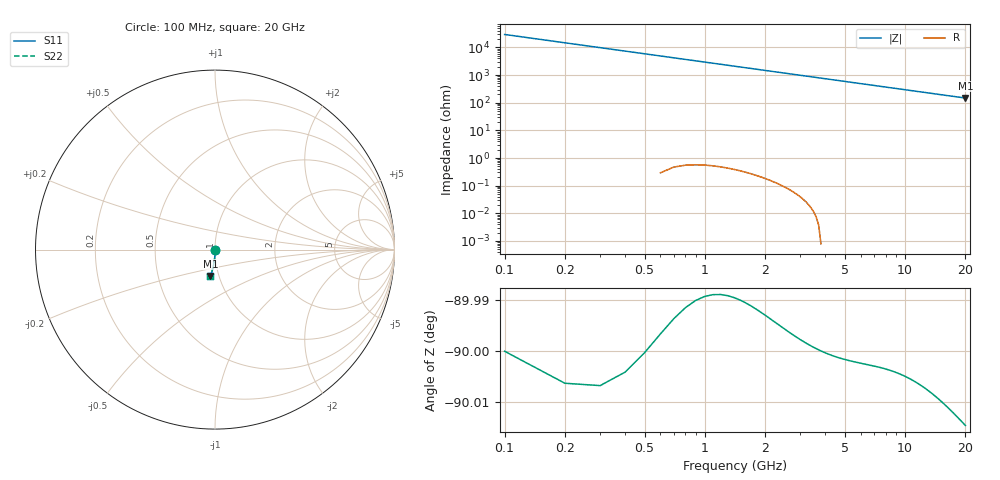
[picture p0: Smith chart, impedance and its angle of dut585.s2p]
! Touchstone file exported from HFSS 2026.1.0
!  File:  C:/ffzhzh/LocalFiles/Ansys_Project_Files/temp_train_TSV_585_1783025089_4048.aedt
!  Generated:  04:46:10 AM Jul  3, 2026
!  Design:  TSV
!  Project:  temp_train_TSV_585_1783025089_4048
! Variables:
!  h_bsmrdl = 2um
!  h_ox = 20um
!  h_rdl = 5um
!  h_sub = 68.32um
!  h_tmrdl = 5um
!  h_tsv = 68.32um
!  h_via = 3um
!  l_bsmrdl = 300um
!  l_sub = 417.16um
!  l_tmrdl = 200um
!  m_sub = 200um
!  pitch = 18.62um
!  r_tsv = 8.58um
!  s_tmrdl = 10um
!  w_bsmrdl = 18um
!  w_sub = 500um
!  w_tmrdl = 12um
!  x_tsv_center1 = 206um
!  x_tsv_center2 = 524um
!  x_tsv_center3 = 736um
!  x_tsv_center4 = 1054um
!  x_tsv_center5 = 1266um
!  x_tsv_center6 = 1584um
# GHz S MA R 50.000000
! Terminal data exported
! Port[1] = TSV1_1_T1
! Port[2] = TSV1_1_T2
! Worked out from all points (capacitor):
!   200 points, 100 MHz to 20 GHz, reference 50 ohm
!   read as one part in shunt: C = 53.9 fF near 200 MHz
!   lowest |Z| = 148 ohm at 20 GHz (marker M1)
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0.1  0.0006913 -76.0  0.9998 -0.1  0.9998 -0.1  0.0006913 -76.0
! Gamma 0 0 0 0
! Port Impedance 50 0 50 0
0.2  0.001366 -81.7  0.9998 -0.1  0.9998 -0.1  0.001366 -81.7
0.3  0.002061 -83.5  0.9998 -0.2  0.9998 -0.2  0.002061 -83.5
0.4  0.002774 -84.3  0.9997 -0.2  0.9997 -0.2  0.002774 -84.3
0.5  0.003499 -84.9  0.9997 -0.3  0.9997 -0.3  0.003499 -84.9
0.7  0.004973 -85.7  0.9996 -0.4  0.9996 -0.4  0.004973 -85.7
0.8  0.005715 -86.1  0.9995 -0.4  0.9995 -0.4  0.005715 -86.1
1  0.007204 -86.7  0.9995 -0.6  0.9995 -0.6  0.007204 -86.7
1.2  0.008695 -87.2  0.9994 -0.7  0.9994 -0.7  0.008695 -87.2
1.4  0.01019 -87.7  0.9994 -0.8  0.9994 -0.8  0.01019 -87.7
1.7  0.01242 -88.2  0.9993 -0.9  0.9993 -0.9  0.01242 -88.2
2  0.01465 -88.6  0.9993 -1.1  0.9993 -1.1  0.01465 -88.6
2.7  0.01987 -89.4  0.9991 -1.5  0.9991 -1.5  0.01987 -89.4
3.5  0.02584 -90.1  0.9988 -1.9  0.9988 -1.9  0.02584 -90.1
4.2  0.03107 -90.6  0.9986 -2.3  0.9986 -2.3  0.03107 -90.6
5  0.03707 -91.1  0.9983 -2.7  0.9983 -2.7  0.03707 -91.1
6.8  0.05058 -92.3  0.9975 -3.7  0.9975 -3.7  0.05058 -92.3
8.3  0.06184 -93.2  0.9967 -4.5  0.9967 -4.5  0.06184 -93.2
10.1  0.07532 -94.3  0.9956 -5.5  0.9956 -5.5  0.07532 -94.3
13.4  0.09994 -96.2  0.9932 -7.2  0.9932 -7.2  0.09994 -96.2
16.7  0.1244 -98.0  0.9902 -9.0  0.9902 -9.0  0.1244 -98.0
20  0.1485 -99.8  0.9866 -10.7  0.9866 -10.7  0.1485 -99.8
